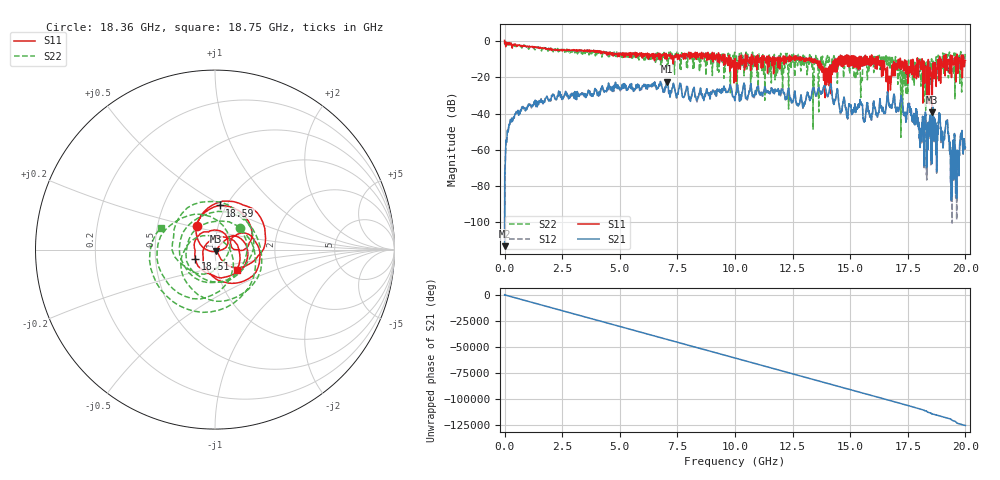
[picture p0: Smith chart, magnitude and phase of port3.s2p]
! MS46122B
! 2250307/22442219
! 2/20/2026 8:48:08 AM
! C:\USERS\SPARKY\DOCUMENTS\VNA_DATA\FEB20_2026\PORT3.S2P
! CHANNEL.1
! TR.MEASUREMENT
! RAW.DATA
# GHZ S RI R 50.0
! FREQ.GHZ  S11RE  S11IM  S21RE  S21IM  S12RE  S12IM  S22RE  S22IM
!; PortSelection: Port_12
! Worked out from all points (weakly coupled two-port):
!   10001 points, 1 MHz to 20 GHz, reference 50 ohm
!   highest |S21| = -22.38 dB at 7.047 GHz (marker M1); lowest = -113.3 dB at 1 MHz (marker M2)
!   lowest |S11| = -39.2 dB at 18.56 GHz (marker M3), VSWR 1.02, Z = 50.3 - j1.06 ohm
!   |S11| at or under -10 dB: 13.49 GHz to 14.32 GHz (821.7 MHz wide, 5.91 % of centre); 16.22 GHz to 17.16 GHz (938.4 MHz wide, 5.62 % of centre); 18.13 GHz to 18.87 GHz (740.9 MHz wide, 4.01 % of centre) (the widest 3 of 107)
!   |S22| runs from -53.1 to -0.2 dB; largest |S21 - S12| = 0.0081
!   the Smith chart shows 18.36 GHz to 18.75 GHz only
!   S11 on the Smith chart (normalised r, x): 18.36 GHz: 0.79, +0.22; 18.51 GHz: 0.80, -0.08; 18.59 GHz: 0.93, +0.49; 18.75 GHz: 1.24, -0.29
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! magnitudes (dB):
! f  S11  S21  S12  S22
! 1 MHz  0.4  -113.3  -104.3  -0.2
! 153 MHz  -1.2  -50.1  -50.4  -1.9
! 495 MHz  -2.3  -39.4  -39.5  -2.3
! 3.335 GHz  -4.9  -29.1  -29.0  -6.8
! 6.669 GHz  -6.6  -25.9  -25.9  -10.0
! 7.047 GHz  -9.8  -22.4  -22.3  -12.8
! 10 GHz  -9.6  -32.8  -32.3  -7.2
! 13.33 GHz  -11.4  -28.5  -29.0  -13.6
! 14 GHz  -15.3  -30.2  -30.0  -8.7
! 15.61 GHz  -11.9  -44.4  -44.5  -10.6
! 16.67 GHz  -21.0  -34.7  -34.7  -10.9
! 17.28 GHz  -11.8  -36.0  -35.9  -22.4
! 18.36 GHz  -15.5  -51.7  -52.2  -14.7
! 18.51 GHz  -18.4  -57.5  -56.9  -14.1
! 18.56 GHz  -39.2  -40.3  -40.2  -15.7
! 18.59 GHz  -12.1  -39.7  -39.8  -13.4
! 18.75 GHz  -15.6  -69.4  -68.6  -9.7
! 19.21 GHz  -16.0  -43.9  -44.2  -9.2
! 19.35 GHz  -7.9  -58.6  -58.6  -17.2
! 19.65 GHz  -8.6  -64.4  -64.4  -10.4
! 19.85 GHz  -10.0  -49.3  -49.7  -11.1
! 20 GHz  -10.7  -58.7  -59.5  -6.1
